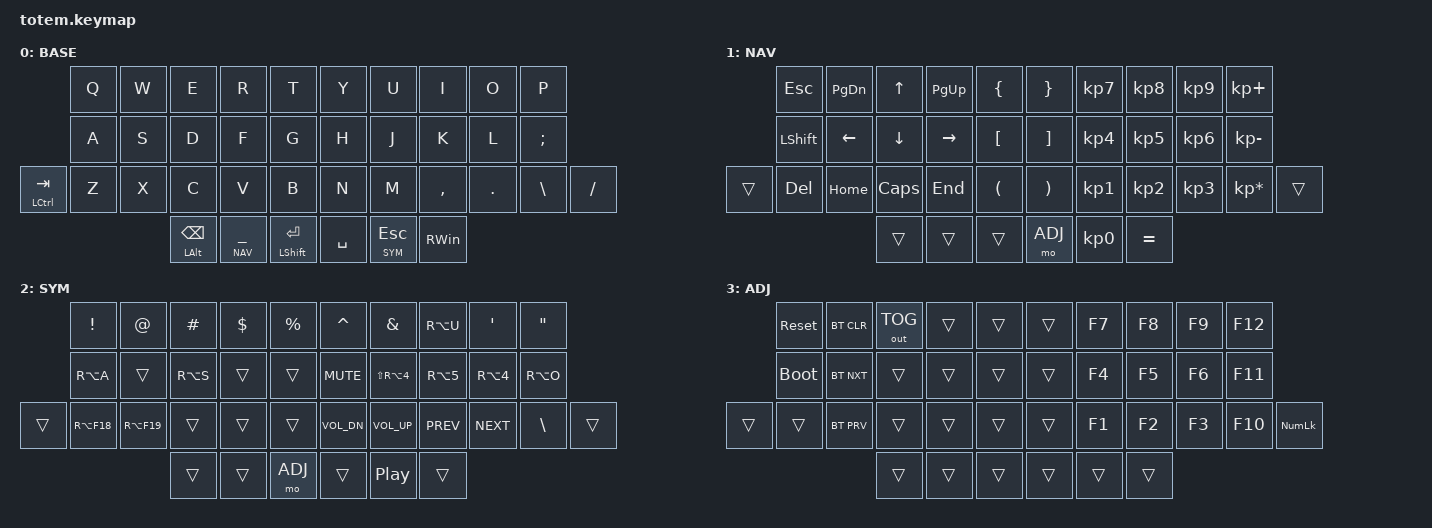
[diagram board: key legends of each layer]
//
//                                                        ▀▀▀▀▀     ▀▀▀▀▀          ▀▀█▀▀
//                                                        ▄▀▀▀▄  ▄  ▄▀▀▀▄  ▄  ▄▀▀▀▄  █  ▄▀▀▀▄
//                                                        █   █  █  █   █  █  █   █  █  █   █
//                                                         ▀▀▀   █   ▀▀▀   █   ▀▀▀   ▀   ▀▀▀
//                                                               █      ▄▄▄█▄▄▄    █   █  
//                                                               ▀      █  █  █     █▄█
//                                                             ▀▀▀▀▀    █  █  █      ▀
//                                                                      ▀  ▀  ▀
//
// ▄▄▄▄▄▄▄▄▄▄▄▄▄▄▄▄▄▄▄▄▄▄▄▄▄▄▄▄▄▄▄▄▄▄▄▄▄▄▄▄▄▄▄▄▄▄▄▄▄▄▄▄▄▄▄▄▄▄▄▄▄▄▄▄▄▄▄▄▄▄▄▄▄▄▄▄▄▄▄▄▄▄▄▄▄▄▄▄▄▄▄▄▄▄▄▄▄▄▄▄▄▄▄▄▄▄▄▄▄▄▄▄▄▄▄▄▄▄▄▄▄▄▄▄▄▄▄▄▄▄▄▄▄▄▄▄▄▄▄▄▄▄▄▄▄▄▄▄▄

#include <behaviors.dtsi>
#include <dt-bindings/zmk/bt.h>
#include <dt-bindings/zmk/keys.h>
#include <dt-bindings/zmk/outputs.h>

#define BASE 0
#define NAV  1
#define SYM  2
#define ADJ  3

&mt {
    quick-tap-ms = <100>;
    flavor = "tap-preferred";
    tapping-term-ms = <200>;
};

/ {
//    combos {
//        compatible = "zmk,combos";
//
//        combo_esc {
//            timeout-ms = <50>;
//            key-positions = <0 1>;
//            bindings = <&kp ESC>;
//        };
//    };

    macros {
    };

    keymap {
        compatible = "zmk,keymap";

        // ▄▄▄▄▄▄▄▄▄▄▄▄▄▄▄▄▄▄▄▄▄▄▄▄▄▄▄▄▄▄▄▄▄▄▄▄▄▄▄▄▄▄▄▄▄▄▄▄▄▄▄▄▄▄▄▄▄▄▄▄▄▄▄▄▄▄▄▄▄▄▄▄▄▄▄▄▄▄▄▄▄▄▄▄▄▄▄▄▄▄▄▄▄▄▄▄▄▄▄▄▄▄▄▄▄▄▄▄▄▄▄▄▄▄▄▄▄▄▄▄▄▄▄▄▄▄▄▄▄▄▄▄▄▄▄▄▄▄▄▄▄▄▄▄▄▄▄▄▄

        base_layer {
            // ┏━━━━━━━━━━━━━━━━━━━━━━━━━━━━━━━━━━━━━━━┓

            display-name = "BASE";

            // ┗━━━━━━━━━━━━━━━━━━━━━━━━━━━━━━━━━━━━━━━┛
            //             ┏━━━━━━━━━━━┳━━━━━━━━━━━┳━━━━━━━━━━━┳━━━━━━━━━━━┳━━━━━━━━━━━┓   ┏━━━━━━━━━━━┳━━━━━━━━━━━┳━━━━━━━━━━━┳━━━━━━━━━━━┳━━━━━━━━━━━┓
            //             ┃     Q     ┃     W     ┃     E     ┃     R     ┃     T     ┃   ┃     Y     ┃     U     ┃     I     ┃     O     ┃     P     ┃
            //             ┣━━━━━━━━━━━╋━━━━━━━━━━━╋━━━━━━━━━━━╋━━━━━━━━━━━╋━━━━━━━━━━━┫   ┣━━━━━━━━━━━╋━━━━━━━━━━━╋━━━━━━━━━━━╋━━━━━━━━━━━╋━━━━━━━━━━━┫
            //             ┃     A     ┃     S     ┃     D     ┃     F     ┃     G     ┃   ┃     H     ┃     J     ┃     K     ┃     L     ┃     ;     ┃
            // ┏━━━━━━━━━━━╋━━━━━━━━━━━╋━━━━━━━━━━━╋━━━━━━━━━━━╋━━━━━━━━━━━╋━━━━━━━━━━━┫   ┣━━━━━━━━━━━╋━━━━━━━━━━━╋━━━━━━━━━━━╋━━━━━━━━━━━╋━━━━━━━━━━━╋━━━━━━━━━━━┓
            // ┃ LCTRL TAB ┃     Z     ┃     X     ┃     C     ┃     V     ┃     B     ┃   ┃     N     ┃     M     ┃     ,     ┃     .     ┃     \     ┃     /     ┃
            // ┗━━━━━━━━━━━┻━━━━━━━━━━━┻━━━━━━━━━━━╋━━━━━━━━━━━╋━━━━━━━━━━━╋━━━━━━━━━━━┫   ┣━━━━━━━━━━━╋━━━━━━━━━━━╋━━━━━━━━━━━╋━━━━━━━━━━━┻━━━━━━━━━━━┻━━━━━━━━━━━┛
            //                                     ┃ LALT BSPC ┃  NAV   _  ┃ LSHFT RET ┃   ┃   SPACE   ┃  SYM  ESC ┃    RWIN   ┃
            //                                     ┗━━━━━━━━━━━┻━━━━━━━━━━━┻━━━━━━━━━━━┛   ┗━━━━━━━━━━━┻━━━━━━━━━━━┻━━━━━━━━━━━┛

            bindings = <
                 &kp Q       &kp W       &kp E        &kp R        &kp T            &kp Y         &kp U        &kp I        &kp O       &kp P
                 &kp A       &kp S       &kp D        &kp F        &kp G            &kp H         &kp J        &kp K        &kp L       &kp SEMI
  &mt LCTRL TAB  &kp Z       &kp X       &kp C        &kp V        &kp B            &kp N         &kp M        &kp COMMA    &kp DOT     &kp BSLH       &kp FSLH
                                       &mt LALT BSPC  &lt NAV UNDER  &mt LSHFT RET  &kp SPACE     &lt SYM ESC  &kp RWIN
            >;
        };

        // ▄▄▄▄▄▄▄▄▄▄▄▄▄▄▄▄▄▄▄▄▄▄▄▄▄▄▄▄▄▄▄▄▄▄▄▄▄▄▄▄▄▄▄▄▄▄▄▄▄▄▄▄▄▄▄▄▄▄▄▄▄▄▄▄▄▄▄▄▄▄▄▄▄▄▄▄▄▄▄▄▄▄▄▄▄▄▄▄▄▄▄▄▄▄▄▄▄▄▄▄▄▄▄▄▄▄▄▄▄▄▄▄▄▄▄▄▄▄▄▄▄▄▄▄▄▄▄▄▄▄▄▄▄▄▄▄▄▄▄▄▄▄▄▄▄▄▄▄▄

        nav_layer {
            // ┏━━━━━━━━━━━━━━━━━━━━━━━━━━━━━━━━━━━━━━━┓

            display-name = "NAV";

            // ┗━━━━━━━━━━━━━━━━━━━━━━━━━━━━━━━━━━━━━━━┛
            //             ┏━━━━━━━━━━━┳━━━━━━━━━━━┳━━━━━━━━━━━┳━━━━━━━━━━━┳━━━━━━━━━━━┓   ┏━━━━━━━━━━━┳━━━━━━━━━━━┳━━━━━━━━━━━┳━━━━━━━━━━━┳━━━━━━━━━━━┓
            //             ┃    ESC    ┃   PG_DN   ┃     UP    ┃   PG_UP   ┃     {     ┃   ┃     }     ┃     7     ┃     8     ┃     9     ┃     +     ┃
            //             ┣━━━━━━━━━━━╋━━━━━━━━━━━╋━━━━━━━━━━━╋━━━━━━━━━━━╋━━━━━━━━━━━┫   ┣━━━━━━━━━━━╋━━━━━━━━━━━╋━━━━━━━━━━━╋━━━━━━━━━━━╋━━━━━━━━━━━┫
            //             ┃   SHIFT   ┃   LEFT    ┃    DOWN   ┃   RIGHT   ┃     [     ┃   ┃     ]     ┃     4     ┃     5     ┃     6     ┃     -     ┃
            // ┏━━━━━━━━━━━╋━━━━━━━━━━━╋━━━━━━━━━━━╋━━━━━━━━━━━╋━━━━━━━━━━━╋━━━━━━━━━━━┫   ┣━━━━━━━━━━━╋━━━━━━━━━━━╋━━━━━━━━━━━╋━━━━━━━━━━━╋━━━━━━━━━━━╋━━━━━━━━━━━┓
            // ┃ LSHFT TAB ┃    DEL    ┃   HOME    ┃  C LOCK   ┃    END    ┃     (     ┃   ┃     )     ┃     1     ┃     2     ┃     3     ┃     *     ┃     /     ┃
            // ┗━━━━━━━━━━━┻━━━━━━━━━━━┻━━━━━━━━━━━╋━━━━━━━━━━━╋━━━━━━━━━━━╋━━━━━━━━━━━┫   ┣━━━━━━━━━━━╋━━━━━━━━━━━╋━━━━━━━━━━━╋━━━━━━━━━━━┻━━━━━━━━━━━┻━━━━━━━━━━━┛
            //                                     ┃    BSPC   ┃     _     ┃    SPC    ┃   ┃    ADJ    ┃     0     ┃     =     ┃
            //                                     ┗━━━━━━━━━━━┻━━━━━━━━━━━┻━━━━━━━━━━━┛   ┗━━━━━━━━━━━┻━━━━━━━━━━━┻━━━━━━━━━━━┛

            bindings = <
        &kp ESC    &kp PG_DN   &kp UP    &kp PG_UP  &kp LBRC    &kp RBRC  &kp KP_N7  &kp KP_N8  &kp KP_N9  &kp KP_PLUS
        &kp LSHFT  &kp LEFT    &kp DOWN  &kp RIGHT  &kp LBKT    &kp RBKT  &kp KP_N4  &kp KP_N5  &kp KP_N6  &kp KP_MINUS
&trans  &kp DEL    &kp HOME    &kp CAPS  &kp END    &kp LPAR    &kp RPAR  &kp KP_N1  &kp KP_N2  &kp KP_N3  &kp KP_MULTIPLY  &trans
                               &trans    &trans     &trans      &mo ADJ   &kp KP_N0  &kp EQUAL
            >;
        };

        // ▄▄▄▄▄▄▄▄▄▄▄▄▄▄▄▄▄▄▄▄▄▄▄▄▄▄▄▄▄▄▄▄▄▄▄▄▄▄▄▄▄▄▄▄▄▄▄▄▄▄▄▄▄▄▄▄▄▄▄▄▄▄▄▄▄▄▄▄▄▄▄▄▄▄▄▄▄▄▄▄▄▄▄▄▄▄▄▄▄▄▄▄▄▄▄▄▄▄▄▄▄▄▄▄▄▄▄▄▄▄▄▄▄▄▄▄▄▄▄▄▄▄▄▄▄▄▄▄▄▄▄▄▄▄▄▄▄▄▄▄▄▄▄▄▄▄▄▄▄

        sim_layer {
            // ┏━━━━━━━━━━━━━━━━━━━━━━━━━━━━━━━━━━━━━━━┓

            display-name = "SYM";

            // ┗━━━━━━━━━━━━━━━━━━━━━━━━━━━━━━━━━━━━━━━┛
            //             ┏━━━━━━━━━━━┳━━━━━━━━━━━┳━━━━━━━━━━━┳━━━━━━━━━━━┳━━━━━━━━━━━┓   ┏━━━━━━━━━━━┳━━━━━━━━━━━┳━━━━━━━━━━━┳━━━━━━━━━━━┳━━━━━━━━━━━┓
            //             ┃     !     ┃     @     ┃     #     ┃     $     ┃     %     ┃   ┃     ˆ     ┃     &     ┃     Ü     ┃     '     ┃     "     ┃
            //             ┣━━━━━━━━━━━╋━━━━━━━━━━━╋━━━━━━━━━━━╋━━━━━━━━━━━╋━━━━━━━━━━━┫   ┣━━━━━━━━━━━╋━━━━━━━━━━━╋━━━━━━━━━━━╋━━━━━━━━━━━╋━━━━━━━━━━━┫
            //             ┃     Ä     ┃           ┃    SZ     ┃           ┃           ┃   ┃   MUTE    ┃   YEN     ┃   EURO    ┃  POUND    ┃     Ö     ┃
            // ┏━━━━━━━━━━━╋━━━━━━━━━━━╋━━━━━━━━━━━╋━━━━━━━━━━━╋━━━━━━━━━━━╋━━━━━━━━━━━┫   ┣━━━━━━━━━━━╋━━━━━━━━━━━╋━━━━━━━━━━━╋━━━━━━━━━━━╋━━━━━━━━━━━╋━━━━━━━━━━━┓
            // ┃           ┃  EMAIL1   ┃  EMAIL2   ┃           ┃           ┃           ┃   ┃   VOL-    ┃   VOL+    ┃   LAST    ┃   NEXT    ┃     \     ┃           ┃
            // ┗━━━━━━━━━━━┻━━━━━━━━━━━┻━━━━━━━━━━━╋━━━━━━━━━━━╋━━━━━━━━━━━╋━━━━━━━━━━━┫   ┣━━━━━━━━━━━╋━━━━━━━━━━━╋━━━━━━━━━━━╋━━━━━━━━━━━┻━━━━━━━━━━━┻━━━━━━━━━━━┛
            //                                     ┃           ┃           ┃    ADJ    ┃   ┃           ┃PLAY  PAUSE┃           ┃
            //                                     ┗━━━━━━━━━━━┻━━━━━━━━━━━┻━━━━━━━━━━━┛   ┗━━━━━━━━━━━┻━━━━━━━━━━━┻━━━━━━━━━━━┛

            bindings = <
        &kp EXCL     &kp AT       &kp HASH   &kp DLLR  &kp PRCNT    &kp CARET     &kp AMPS        &kp RA(U)   &kp SQT     &kp DQT
        &kp RA(A)    &trans       &kp RA(S)  &trans    &trans       &kp C_MUTE    &kp LS(RA(N4))  &kp RA(N5)  &kp RA(N4)  &kp RA(O)
&trans  &kp RA(F18)  &kp RA(F19)  &trans     &trans    &trans       &kp C_VOL_DN  &kp C_VOL_UP    &kp C_PREV  &kp C_NEXT  &kp BSLH   &trans
                                  &trans     &trans    &mo ADJ      &trans        &kp C_PP        &trans
            >;
        };

        // ▄▄▄▄▄▄▄▄▄▄▄▄▄▄▄▄▄▄▄▄▄▄▄▄▄▄▄▄▄▄▄▄▄▄▄▄▄▄▄▄▄▄▄▄▄▄▄▄▄▄▄▄▄▄▄▄▄▄▄▄▄▄▄▄▄▄▄▄▄▄▄▄▄▄▄▄▄▄▄▄▄▄▄▄▄▄▄▄▄▄▄▄▄▄▄▄▄▄▄▄▄▄▄▄▄▄▄▄▄▄▄▄▄▄▄▄▄▄▄▄▄▄▄▄▄▄▄▄▄▄▄▄▄▄▄▄▄▄▄▄▄▄▄▄▄▄▄▄▄

        adjust_layer {
            // ┏━━━━━━━━━━━━━━━━━━━━━━━━━━━━━━━━━━━━━━━┓

            display-name = "ADJ";

            // ┗━━━━━━━━━━━━━━━━━━━━━━━━━━━━━━━━━━━━━━━┛
            //             ┏━━━━━━━━━━━┳━━━━━━━━━━━┳━━━━━━━━━━━┳━━━━━━━━━━━┳━━━━━━━━━━━┓   ┏━━━━━━━━━━━┳━━━━━━━━━━━┳━━━━━━━━━━━┳━━━━━━━━━━━┳━━━━━━━━━━━┓
            //             ┃   RESET   ┃ BT CLEAR  ┃  OUT TOG  ┃           ┃           ┃   ┃           ┃    F7     ┃    F8     ┃    F9     ┃    F12    ┃
            //             ┣━━━━━━━━━━━╋━━━━━━━━━━━╋━━━━━━━━━━━╋━━━━━━━━━━━╋━━━━━━━━━━━┫   ┣━━━━━━━━━━━╋━━━━━━━━━━━╋━━━━━━━━━━━╋━━━━━━━━━━━╋━━━━━━━━━━━┫
            //             ┃ BOOTLOAD  ┃ BT NEXT   ┃           ┃           ┃           ┃   ┃           ┃    F4     ┃    F5     ┃    F6     ┃    F11    ┃
            // ┏━━━━━━━━━━━╋━━━━━━━━━━━╋━━━━━━━━━━━╋━━━━━━━━━━━╋━━━━━━━━━━━╋━━━━━━━━━━━┫   ┣━━━━━━━━━━━╋━━━━━━━━━━━╋━━━━━━━━━━━╋━━━━━━━━━━━╋━━━━━━━━━━━╋━━━━━━━━━━━┓
            // ┃           ┃           ┃ BT PREV   ┃           ┃           ┃           ┃   ┃           ┃    F1     ┃    F2     ┃    F3     ┃    F10    ┃  NUMLOCK  ┃
            // ┗━━━━━━━━━━━┻━━━━━━━━━━━┻━━━━━━━━━━━╋━━━━━━━━━━━╋━━━━━━━━━━━╋━━━━━━━━━━━┫   ┣━━━━━━━━━━━╋━━━━━━━━━━━╋━━━━━━━━━━━╋━━━━━━━━━━━┻━━━━━━━━━━━┻━━━━━━━━━━━┛
            //                                     ┃           ┃           ┃           ┃   ┃           ┃           ┃           ┃
            //                                     ┗━━━━━━━━━━━┻━━━━━━━━━━━┻━━━━━━━━━━━┛   ┗━━━━━━━━━━━┻━━━━━━━━━━━┻━━━━━━━━━━━┛

            bindings = <
        &sys_reset   &bt BT_CLR  &out OUT_TOG  &trans  &trans    &trans  &kp F7  &kp F8  &kp F9  &kp F12
        &bootloader  &bt BT_NXT  &trans        &trans  &trans    &trans  &kp F4  &kp F5  &kp F6  &kp F11
&trans  &trans       &bt BT_PRV  &trans        &trans  &trans    &trans  &kp F1  &kp F2  &kp F3  &kp F10  &kp KP_NUM
                                 &trans        &trans  &trans    &trans  &trans  &trans
            >;
        };
    };
};
